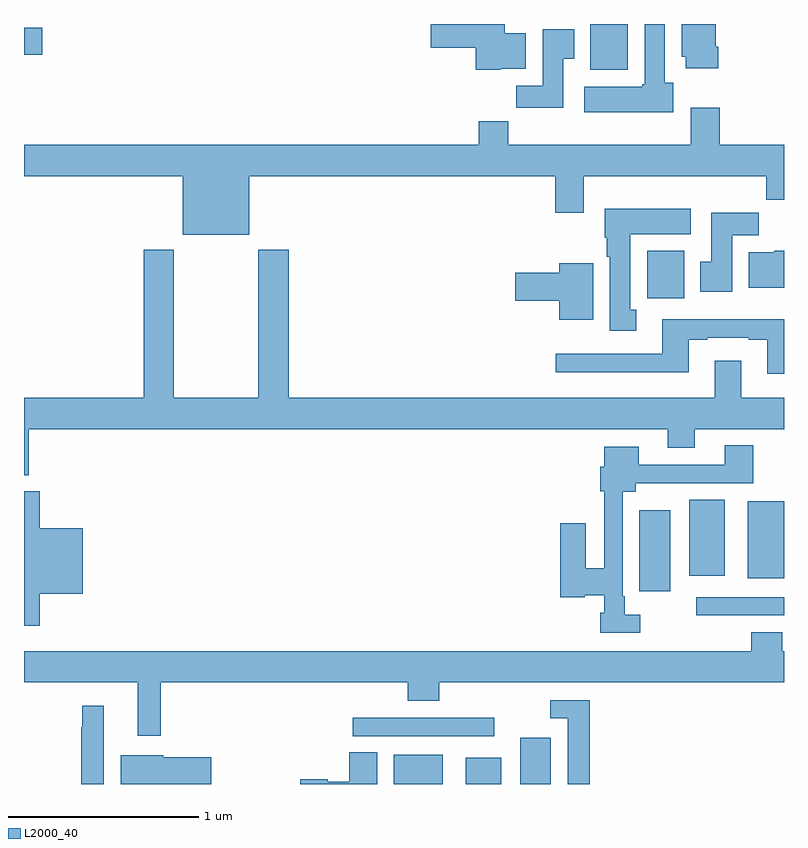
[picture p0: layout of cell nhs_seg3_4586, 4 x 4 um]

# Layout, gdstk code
import gdstk
lib = gdstk.Library(unit=1e-6, precision=1e-09)
def R(c, l, rs):  # rectangles x0, y0, x1, y1
    for r in rs: c.add(gdstk.rectangle(r[:2], r[2:], *l))
def P(c, l, *ps):  # polygons
    for p in ps: c.add(gdstk.Polygon(p, *l))
L2000_40 = (2000, 40)

nhs_seg3_4586 = lib.new_cell('nhs_seg3_4586')
R(nhs_seg3_4586, L2000_40, [(358.946,680.4,359.203,680.554), (359.324,680.4,359.512,680.539), (359.612,680.4,359.773,680.644), (358.731,680.652,359.476,680.748), (360.537,681.288,361,681.384), (360.239,681.414,360.4,681.841), (360.809,681.482,361,681.889), (360.5,681.497,360.688,681.895), (360.279,682.956,360.475,683.206), (359.981,684.158,360.178,684.4), (357,684.238,357.097,684.38)])
P(nhs_seg3_4586, L2000_40, [(359.508,684.164),(359.641,684.164),(359.641,684.352),(359.53,684.352),(359.53,684.4),(359.142,684.4),(359.142,684.275),(359.378,684.275),(359.378,684.158),(359.508,684.158)],
  [(360.653,684.28),(360.64,684.28),(360.64,684.4),(360.461,684.4),(360.461,684.228),(360.482,684.228),(360.482,684.168),(360.653,684.168)],
  [(360.418,684.09),(360.373,684.09),(360.373,684.4),(360.266,684.4),(360.266,684.084),(360.253,684.084),(360.253,684.07),(359.949,684.07),(359.949,683.936),(360.418,683.936)],
  [(359.839,684.217),(359.896,684.217),(359.896,684.373),(359.729,684.373),(359.729,684.076),(359.59,684.076),(359.59,683.958),(359.839,683.958)],
  [(358.186,683.6),(359.795,683.6),(359.795,683.406),(359.947,683.406),(359.947,683.6),(360.907,683.6),(360.907,683.476),(361,683.476),(361,683.764),(360.662,683.764),(360.662,683.959),(360.509,683.959),(360.509,683.764),(359.549,683.764),(359.549,683.888),(359.393,683.888),(359.393,683.764),(357,683.764),(357,683.6),(357.836,683.6),(357.836,683.291),(358.186,683.291)],
  [(360.223,682.897),(360.19,682.897),(360.19,683.294),(360.508,683.294),(360.508,683.428),(360.056,683.428),(360.056,683.274),(360.068,683.274),(360.068,683.174),(360.083,683.174),(360.083,682.785),(360.223,682.785)],
  [(360.727,683.288),(360.866,683.288),(360.866,683.407),(360.617,683.407),(360.617,683.148),(360.56,683.148),(360.56,682.992),(360.727,682.992)],
  [(357.026,682.268),(360.389,682.268),(360.389,682.169),(360.529,682.169),(360.529,682.268),(361,682.268),(361,682.432),(360.775,682.432),(360.775,682.627),(360.635,682.627),(360.635,682.432),(358.394,682.432),(358.394,683.212),(358.234,683.212),(358.234,682.432),(357.789,682.432),(357.789,683.212),(357.629,683.212),(357.629,682.432),(357,682.432),(357,682.025),(357.026,682.025)],
  [(361,683.206),(360.948,683.206),(360.948,683.2),(360.815,683.2),(360.815,683.012),(361,683.012)],
  [(359.995,683.14),(359.816,683.14),(359.816,683.09),(359.586,683.09),(359.586,682.943),(359.816,682.943),(359.816,682.844),(359.995,682.844)],
  [(361,682.846),(360.359,682.846),(360.359,682.665),(359.799,682.665),(359.799,682.568),(360.499,682.568),(360.499,682.737),(360.595,682.737),(360.595,682.749),(360.815,682.749),(360.815,682.737),(360.911,682.737),(360.911,682.56),(361,682.56)],
  [(360.244,681.291),(360.162,681.291),(360.162,681.388),(360.15,681.388),(360.15,681.938),(360.22,681.938),(360.22,681.984),(360.837,681.984),(360.837,682.183),(360.689,682.183),(360.689,682.08),(360.235,682.08),(360.235,682.174),(360.053,682.174),(360.053,682.07),(360.034,682.07),(360.034,681.942),(360.054,681.942),(360.054,681.536),(359.956,681.536),(359.956,681.772),(359.822,681.772),(359.822,681.383),(359.952,681.383),(359.952,681.394),(360.054,681.394),(360.054,681.302),(360.034,681.302),(360.034,681.195),(360.244,681.195)],
  [(357.083,681.401),(357.31,681.401),(357.31,681.745),(357.083,681.745),(357.083,681.94),(357,681.94),(357,681.233),(357.083,681.233)],
  [(360.827,681.199),(360.827,681.1),(357,681.1),(357,680.936),(357.599,680.936),(357.599,680.655),(357.721,680.655),(357.721,680.936),(359.021,680.936),(359.021,680.837),(359.186,680.837),(359.186,680.936),(361,680.936),(361,681.1),(360.992,681.1),(360.992,681.199)],
  [(359.978,680.841),(359.769,680.841),(359.769,680.745),(359.862,680.745),(359.862,680.4),(359.978,680.4)],
  [(357.421,680.812),(357.307,680.812),(357.307,680.699),(357.3,680.699),(357.3,680.4),(357.421,680.4)],
  [(358.858,680.567),(358.712,680.567),(358.712,680.413),(358.598,680.413),(358.598,680.426),(358.455,680.426),(358.455,680.4),(358.858,680.4)],
  [(357.985,680.541),(357.732,680.541),(357.732,680.551),(357.509,680.551),(357.509,680.4),(357.985,680.4)])

lib.write_gds('nhs_seg3_4586.gds')
